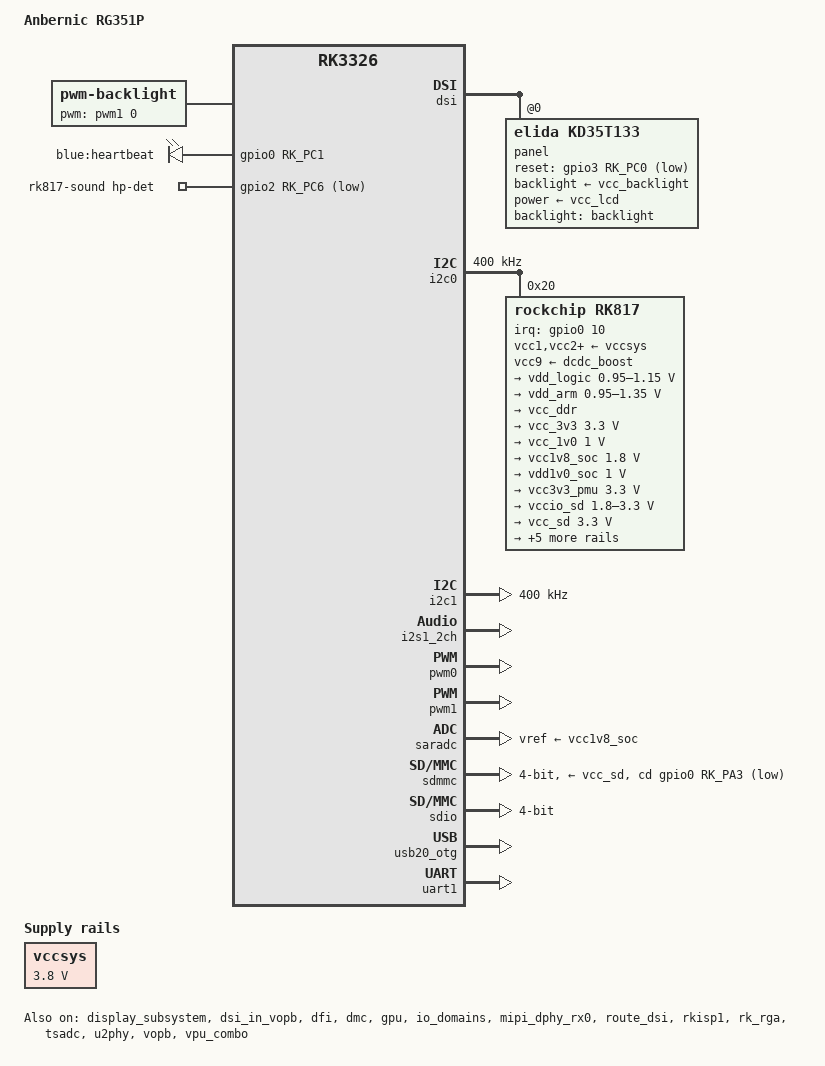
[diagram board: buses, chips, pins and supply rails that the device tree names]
// SPDX-License-Identifier: (GPL-2.0+ OR MIT)
/*
 * Copyright (c) 2020 Anbernic
 *
 * Anbernic RG351P isn't ODROID-GO2 CLONE:)
 *
 */

/dts-v1/;
#include <dt-bindings/display/drm_mipi_dsi.h>
#include <dt-bindings/gpio/gpio.h>
#include <dt-bindings/input/input.h>
#include <dt-bindings/pinctrl/rockchip.h>
#include <dt-bindings/sensor-dev.h>
#include "rockchip/rk3326.dtsi"
#include "rockchip/rk3326-linux.dtsi"

/ {
	model = "Anbernic RG351P";
	compatible = "rockchip,rk3326-rg351p-linux", "rockchip,rk3326";

	chosen {
                bootargs = "";
	};

	fiq-debugger {
		compatible = "rockchip,fiq-debugger";
		rockchip,serial-id = <2>;
		rockchip,wake-irq = <0>;
		/* If enable uart uses irq instead of fiq */
		rockchip,irq-mode-enable = <0>;
		rockchip,baudrate = <115200>;  /* Only 115200 and 1500000 */
		interrupts = <GIC_SPI 127 IRQ_TYPE_LEVEL_LOW>;
		pinctrl-names = "default";
		pinctrl-0 = <&uart2m1_xfer>;
		status = "okay";
	};

	backlight: backlight {
		compatible = "pwm-backlight";
		pwms = <&pwm1 0 25000 0>;
		brightness-levels = <
			  0   1   2   3   4   5   6   7
			  8   9  10  11  12  13  14  15
			 16  17  18  19  20  21  22  23
			 24  25  26  27  28  29  30  31
			 32  33  34  35  36  37  38  39
			 40  41  42  43  44  45  46  47
			 48  49  50  51  52  53  54  55
			 56  57  58  59  60  61  62  63
			 64  65  66  67  68  69  70  71
			 72  73  74  75  76  77  78  79
			 80  81  82  83  84  85  86  87
			 88  89  90  91  92  93  94  95
			 96  97  98  99 100 101 102 103
			104 105 106 107 108 109 110 111
			112 113 114 115 116 117 118 119
			120 121 122 123 124 125 126 127
			128 129 130 131 132 133 134 135
			136 137 138 139 140 141 142 143
			144 145 146 147 148 149 150 151
			152 153 154 155 156 157 158 159
			160 161 162 163 164 165 166 167
			168 169 170 171 172 173 174 175
			176 177 178 179 180 181 182 183
			184 185 186 187 188 189 190 191
			192 193 194 195 196 197 198 199
			200 201 202 203 204 205 206 207
			208 209 210 211 212 213 214 215
			216 217 218 219 220 221 222 223
			224 225 226 227 228 229 230 231
			232 233 234 235 236 237 238 239
			240 241 242 243 244 245 246 247
			248 249 250 251 252 253 254 255>;
		default-brightness-level = <255>;
	};
	
	leds: gpio_leds {
		compatible = "gpio-leds";

		pinctrl-names = "led_pins";
		pinctrl-0 = <&led_pins>;

		heartbeat {
			label = "blue:heartbeat";
			gpios = <&gpio0 RK_PC1 GPIO_ACTIVE_HIGH>;
			linux,default-trigger = "heartbeat";
		};
	};

	rk817-sound {
		compatible = "simple-audio-card";
		simple-audio-card,format = "i2s";
		simple-audio-card,name = "rockchip,rk817-codec";
		simple-audio-card,mclk-fs = <256>;
		simple-audio-card,widgets =
			"Microphone", "Mic Jack",
			"Headphone", "Headphone Jack";
		simple-audio-card,routing =
			"MIC_IN", "Mic Jack",
			/*"IN1P", "Mic Jack",*/
			"Headphone Jack", "HPOL",
			"Headphone Jack", "HPOR";
		simple-audio-card,hp-det-gpio = <&gpio2 RK_PC6 GPIO_ACTIVE_LOW>;
		simple-audio-card,codec-hp-det = <1>;
		simple-audio-card,cpu {
			sound-dai = <&i2s1_2ch>;
		};
		simple-audio-card,codec {
			sound-dai = <&rk817_codec>;
		};
	};

	vccsys: vccsys {
		compatible = "regulator-fixed";
		regulator-name = "vcc3v8_sys";
		regulator-always-on;
		regulator-min-microvolt = <3800000>;
		regulator-max-microvolt = <3800000>;
	};
/*
	vcc_host: vcc_host {
		compatible = "regulator-fixed";
		regulator-name = "vcc_host";
		regulator-min-microvolt = <5000000>;
		regulator-max-microvolt = <5000000>;

		gpio = <&gpio0 RK_PB7 GPIO_ACTIVE_LOW>;
		enable-active-high;
		regulator-always-on;
		vin-supply = <&vccsys>;
	};
*/
};


&bus_apll {
	bus-supply = <&vdd_logic>;
	status = "okay";
};

&cpu0 {
	cpu-supply = <&vdd_arm>;
};

&cpu0_opp_table {
	rockchip,avs = <1>;

	/* default 1.296GHz */
	rockchip,bin-scaling-sel = <
		0	13
		1	13
	>;

	/delete-node/ opp-816000000;
	/delete-node/ opp-1248000000;
};

&display_subsystem {
	status = "okay";
};

&dsi {
	status = "okay";

	panel@0 {
		compatible = "elida,kd35t133", "simple-panel-dsi";
		reg = <0>;

		/* pwm1 backlight */
		backlight = <&backlight>;
		/* RK817 LDO7 */
		backlight-supply = <&vcc_backlight>;
		/* RK817 LDO8 */
		power-supply = <&vcc_lcd>;

		/* Rev 0.2 LCD reset gpio GPIO3.C0 */
		reset-gpios = <&gpio3 RK_PC0 GPIO_ACTIVE_LOW>;

		prepare-delay-ms = <2>;
		reset-delay-ms = <1>;
		init-delay-ms = <20>;
		enable-delay-ms = <120>;
		disable-delay-ms = <50>;
		unprepare-delay-ms = <20>;

		/* LCD size */
		width-mm = <42>;
		height-mm = <82>;

		dsi,flags = <(MIPI_DSI_MODE_VIDEO           |
			      MIPI_DSI_MODE_VIDEO_BURST     |
			      MIPI_DSI_MODE_LPM             |
			      MIPI_DSI_MODE_EOT_PACKET)>;

		dsi,format = <MIPI_DSI_FMT_RGB888>;
		dsi,lanes = <1>;

		/*
			- panel-init-sequence data description -
			  mipi_cmd, delay(ms), len, lcd_cmd, lcd_data...

			- mipi_cmd description -
			  05 : MIPI_DSI_SHORT_WRITE
			  15 : MIPI_DSI_SHORT_WRITE_PARAM
			  39 : MIPI_DSI_LONG_WRITE

			- ILI9486 (Initialize sequence) -
			  11: Sleep out & 250ms wait
			  E0: PositiveGamma
			  E1: NegativeGamma
			  C0: PowerControl_1
			  C1: PowerControl_2
			  C5: VcomControl
			  36: MemoryAccess
			  3A: InterfacePixelFormat
			  B0: InterfaceModeControl
			  B1: FrameRateControl
			  B4: DisplayInversionControl
			  B6: DisplayFunctionControl
			  E9: SetImageFunction
			  F7: AdjustControl_3
			  21: DisplayInversionOn
			  29: DisplayOn & 50ms wait
		*/

		panel-init-sequence = [
			05 fa 01 11
			39 00 10 E0 00 13 18 04 0F 06 3A 56
			4D 03 0A 06 30 3E 0F
			39 00 10 E1 00 13 18 01 11 06 38 34
			4D 06 0D 0B 31 37 0F
			15 00 03 C0 18 17
			15 00 02 C1 41
			39 00 04 C5 00 1A 80
			15 00 02 36 48
			15 00 02 3A 55
			15 00 02 B0 00
			15 00 02 B1 A0
			15 00 02 B4 02
			15 00 03 B6 20 02
			15 00 02 E9 00
			39 00 05 F7 A9 51 2C 82
			05 00 01 21
			05 32 01 29
		];

		/* 28: DisplayOff */
		/* 10: SleepIn */
		panel-exit-sequence = [
			05 00 01 28
			05 00 01 10
		];

		display-timings {
			native-mode = <&timing0>;

			timing0: timing0 {
				clock-frequency = <17000000>;
				hactive = <320>;
				vactive = <480>;
				hfront-porch = <130>;
				hsync-len = <4>;
				hback-porch = <130>;
				vfront-porch = <2>;
				vsync-len = <1>;
				vback-porch = <2>;
				hsync-active = <0>;
				vsync-active = <0>;
				de-active = <0>;
				pixelclk-active = <0>;
			};
		};
	};
};

&dsi_in_vopb {
	status = "okay";
};



&dfi {
	status = "okay";
};

&dmc {
	center-supply = <&vdd_logic>;
	status = "okay";
};

&dmc_opp_table {
	/delete-node/ opp-194000000;
	/delete-node/ opp-328000000;
	/delete-node/ opp-450000000;

	opp-786000000 {
		status = "okay";
	};
};

&emmc {
	status = "disabled";
};

&gpu {
	mali-supply = <&vdd_logic>;
	status = "okay";
};

&gpu_opp_table {
	/delete-node/ opp-200000000;
	/delete-node/ opp-300000000;
};


&i2c0 {
	status = "okay";
	clock-frequency = <400000>;
	i2c-scl-rising-time-ns = <280>;
	i2c-scl-falling-time-ns = <16>;

	rk817: pmic@20 {
		compatible = "rockchip,rk817";
		reg = <0x20>;
		interrupt-parent = <&gpio0>;
		interrupts = <10 IRQ_TYPE_LEVEL_LOW>;
		pinctrl-names = "default", "pmic-sleep",
				"pmic-power-off", "pmic-reset";
		pinctrl-0 = <&pmic_int>;
		pinctrl-1 = <&soc_slppin_slp>, <&rk817_slppin_slp>;
		pinctrl-2 = <&soc_slppin_gpio>, <&rk817_slppin_pwrdn>;
		pinctrl-3 = <&soc_slppin_rst>, <&rk817_slppin_rst>;
		rockchip,system-power-controller;
		wakeup-source;
		#clock-cells = <1>;
		clock-output-names = "rk808-clkout1", "rk808-clkout2";
		//fb-inner-reg-idxs = <2>;

		/* 1: rst regs (default in codes), 0: rst the pmic */
		pmic-reset-func = <1>;

		vcc1-supply = <&vccsys>;
		vcc2-supply = <&vccsys>;
		vcc3-supply = <&vccsys>;
		vcc4-supply = <&vccsys>;
		vcc5-supply = <&vccsys>;
		vcc6-supply = <&vccsys>;
		vcc7-supply = <&vccsys>;
		vcc8-supply = <&vccsys>;
		vcc9-supply = <&dcdc_boost>;

		pwrkey {
			status = "okay";
		};

		pinctrl_rk8xx: pinctrl_rk8xx {
			gpio-controller;
			#gpio-cells = <2>;

			rk817_ts_gpio1: rk817_ts_gpio1 {
				pins = "gpio_ts";
				function = "pin_fun1";
				/* output-low; */
				/* input-enable; */
			};

			rk817_gt_gpio2: rk817_gt_gpio2 {
				pins = "gpio_gt";
				function = "pin_fun1";
			};

			rk817_pin_ts: rk817_pin_ts {
				pins = "gpio_ts";
				function = "pin_fun0";
			};

			rk817_pin_gt: rk817_pin_gt {
				pins = "gpio_gt";
				function = "pin_fun0";
			};

			rk817_slppin_null: rk817_slppin_null {
				pins = "gpio_slp";
				function = "pin_fun0";
			};

			rk817_slppin_slp: rk817_slppin_slp {
				pins = "gpio_slp";
				function = "pin_fun1";
			};

			rk817_slppin_pwrdn: rk817_slppin_pwrdn {
				pins = "gpio_slp";
				function = "pin_fun2";
			};

			rk817_slppin_rst: rk817_slppin_rst {
				pins = "gpio_slp";
				function = "pin_fun3";
			};
		};

		regulators {
			vdd_logic: DCDC_REG1 {
				regulator-always-on;
				regulator-boot-on;
				regulator-min-microvolt = <950000>;
				regulator-max-microvolt = <1150000>;
				regulator-ramp-delay = <6001>;
				regulator-initial-mode = <0x2>;
				regulator-name = "vdd_logic";
				regulator-state-mem {
					regulator-on-in-suspend;
					regulator-suspend-microvolt = <950000>;
				};
			};

			vdd_arm: DCDC_REG2 {
				regulator-always-on;
				regulator-boot-on;
				regulator-min-microvolt = <950000>;
				regulator-max-microvolt = <1350000>;
				regulator-ramp-delay = <6001>;
				regulator-initial-mode = <0x2>;
				regulator-name = "vdd_arm";
				regulator-state-mem {
					regulator-off-in-suspend;
					regulator-suspend-microvolt = <950000>;
				};
			};

			vcc_ddr: DCDC_REG3 {
				regulator-always-on;
				regulator-boot-on;
				regulator-initial-mode = <0x2>;
				regulator-name = "vcc_ddr";
				regulator-state-mem {
					regulator-on-in-suspend;
				};
			};

			vcc_3v3: DCDC_REG4 {
				regulator-always-on;
				regulator-boot-on;
				regulator-min-microvolt = <3300000>;
				regulator-max-microvolt = <3300000>;
				regulator-initial-mode = <0x2>;
				regulator-name = "vcc_3v3";
				regulator-state-mem {
					regulator-off-in-suspend;
					regulator-suspend-microvolt = <3300000>;
				};
			};

			/* Not Used */
			vcc_1v0: LDO_REG1 {
				regulator-min-microvolt = <1000000>;
				regulator-max-microvolt = <1000000>;
				regulator-name = "vcc_1v0";
				regulator-state-mem {
					regulator-off-in-suspend;
					regulator-suspend-microvolt = <1000000>;
				};
			};

			vcc1v8_soc: LDO_REG2 {
				regulator-always-on;
				regulator-boot-on;
				regulator-min-microvolt = <1800000>;
				regulator-max-microvolt = <1800000>;

				regulator-name = "vcc1v8_soc";
				regulator-state-mem {
					regulator-on-in-suspend;
					regulator-suspend-microvolt = <1800000>;
				};
			};

			vdd1v0_soc: LDO_REG3 {
				regulator-always-on;
				regulator-boot-on;
				regulator-min-microvolt = <1000000>;
				regulator-max-microvolt = <1000000>;

				regulator-name = "vcc1v0_soc";
				regulator-state-mem {
					regulator-on-in-suspend;
					regulator-suspend-microvolt = <1000000>;
				};
			};

			vcc3v3_pmu: LDO_REG4 {
				regulator-always-on;
				regulator-boot-on;
				regulator-min-microvolt = <3300000>;
				regulator-max-microvolt = <3300000>;

				regulator-name = "vcc3v3_pmu";
				regulator-state-mem {
					regulator-on-in-suspend;
					regulator-suspend-microvolt = <3300000>;

				};
			};

			vccio_sd: LDO_REG5 {
				regulator-always-on;
				regulator-boot-on;
				regulator-min-microvolt = <1800000>;
				regulator-max-microvolt = <3300000>;

				regulator-name = "vccio_sd";
				regulator-state-mem {
					regulator-on-in-suspend;
					regulator-suspend-microvolt = <3300000>;
				};
			};

			vcc_sd: LDO_REG6 {
				regulator-min-microvolt = <3300000>;
				regulator-max-microvolt = <3300000>;
				regulator-boot-on;

				regulator-name = "vcc_sd";
				regulator-state-mem {
					regulator-on-in-suspend;
					regulator-suspend-microvolt = <3300000>;

				};
			};

			/* Rev 0.2 LCD Backlight Power */
			vcc_backlight: LDO_REG7 {
				regulator-min-microvolt = <3300000>;
				regulator-max-microvolt = <3300000>;
				regulator-name = "vcc_backlight";
				regulator-state-mem {
					regulator-off-in-suspend;
					regulator-suspend-microvolt = <3300000>;
				};
			};

			/* Rev 0.2 LCD IO Power */
			vcc_lcd: LDO_REG8 {
				regulator-min-microvolt = <2800000>;
				regulator-max-microvolt = <2800000>;
				regulator-name = "vcc_lcd";
				regulator-state-mem {
					regulator-off-in-suspend;
					regulator-suspend-microvolt = <2800000>;
				};
			};

			/* Rev 1.1 WIFI Power */
			vcc_wifi: LDO_REG9 {
				regulator-always-on;
				regulator-boot-on;
				regulator-min-microvolt = <3300000>;
				regulator-max-microvolt = <3300000>;

				regulator-name = "vcc_wifi";
				regulator-state-mem {
					regulator-off-in-suspend;
					regulator-suspend-microvolt = <3300000>;
				};
			};

			dcdc_boost: BOOST {
				regulator-always-on;
				regulator-boot-on;
				regulator-min-microvolt = <5000000>;
				regulator-max-microvolt = <5400000>;
				regulator-name = "boost";
			};

			otg_switch: OTG_SWITCH {
				regulator-boot-on;
				regulator-name = "otg_switch";
			};
		};

		battery {
			compatible = "rk817,battery";
			ocv_table = <3300 3342 3384 3426 3468 3511 3554
			3597 3640 3683 3726 3769 3812 3855
			3898 3941 3984 4027 4070 4113 4158>;

			design_capacity = <3450>;
			design_qmax = <3795>;
			bat_res = <100>;
			sleep_enter_current = <300>;
			sleep_exit_current = <300>;
			sleep_filter_current = <100>;
			power_off_thresd = <3400>;
			zero_algorithm_vol = <3850>;
			max_soc_offset = <60>;
			monitor_sec = <5>;
			virtual_power = <0>;
			sample_res = <10>;
			power_dc2otg = <0>;
		};

		charger {
			compatible = "rk817,charger";
			min_input_voltage = <4500>;
			max_input_current = <1500>;
			max_chrg_current = <2000>;
			max_chrg_voltage = <4200>;
			chrg_term_mode = <0>;
			chrg_finish_cur = <66>;
			virtual_power = <0>;
			sample_res = <10>;

			dc_det_gpio  = <&gpio0 RK_PB3 GPIO_ACTIVE_HIGH>;
			bat_low_gpio = <&gpio2 RK_PB5 GPIO_ACTIVE_HIGH>;

			extcon = <&u2phy>;
		};

		rk817_codec: codec {
			#sound-dai-cells = <0>;
			compatible = "rockchip,rk817-codec";
			clocks = <&cru SCLK_I2S1_OUT>;
			clock-names = "mclk";
			pinctrl-names = "default";
			pinctrl-0 = <&i2s1_2ch_mclk>;
			hp-volume = <0>;
			spk-volume = <3>;
			status = "okay";
		};
	};
};

&i2c1 {
	status = "okay";
	clock-frequency = <400000>;
};

/* MIPI CSI I2C */
&i2c2 {
	status = "disabled";
};

/* I2S 1 Channel Used */
&i2s1_2ch {
	status = "okay";
	#sound-dai-cells = <0>;
};

&io_domains {
	/* GRF Register Voltage select control */
	status = "okay";

	/* SDIO I/O Voltage */
	vccio1-supply = <&vcc_3v3>;
	/* SDMMC I/O Voltage */
	vccio2-supply = <&vccio_sd>;
	/* CAM I/O Voltage */
	vccio3-supply = <&vcc_3v3>;
	/* LVDS/LCDC I/O Voltage */
	vccio4-supply = <&vcc_3v3>;
	/* I2S I/O Voltage */
	vccio5-supply = <&vcc_3v3>;
	/* eMMC I/O Voltage */
	vccio6-supply = <&vcc_3v3>;
};

&isp_mmu {
	status = "okay";
};

&mipi_dphy_rx0 {
	status = "okay";
};

&pmu_io_domains {
	/* PMU GRF Register Voltage select control */
	status = "okay";

	/* PMU I/O Voltage */
	pmuio1-supply = <&vcc3v3_pmu>;
	/* GPIO0_B/GPIO0_C, Flash */
	pmuio2-supply = <&vcc3v3_pmu>;
};

/* RG351P Motor PWM */
&pwm0 {
	status = "okay";
};

/* LCD Backlight PWM */
&pwm1 {
	status = "okay";
};

&route_dsi {
	connect = <&vopb_out_dsi>;
	status = "okay";
};

&rkisp1 {
	status = "okay";
};

&rk_rga {
	status = "okay";
};

&rockchip_suspend {
	status = "okay";
	rockchip,sleep-debug-en = <1>;
};


&sfc {
	status = "disabled";
};


&spi0 {
	status = "disabled";
};

&saradc {
	status = "okay";
	vref-supply = <&vcc1v8_soc>;
};

&sdmmc {
	bus-width = <4>;
	cap-mmc-highspeed;
	cap-sd-highspeed;
	supports-sd;
	card-detect-delay = <800>;
	ignore-pm-notify;
	cd-gpios = <&gpio0 RK_PA3 GPIO_ACTIVE_LOW>; /*[> CD GPIO <]*/
	sd-uhs-sdr12;
	sd-uhs-sdr25;
	sd-uhs-sdr50;
	sd-uhs-sdr104;
	vqmmc-supply = <&vccio_sd>;
	vmmc-supply = <&vcc_sd>;
	status = "okay";
};

&sdio {
	bus-width = <4>;
	cap-sd-highspeed;
	cap-sdio-irq;
	disable-wp;
	supports-sdio;
	ignore-pm-notify;
	keep-power-in-suspend;
	/* non-removable; */
	status = "okay";
};

&tsadc {
	pinctrl-names = "gpio", "otpout";
	pinctrl-0 = <&tsadc_otp_gpio>;
	pinctrl-1 = <&tsadc_otp_out>;
	status = "okay";
};

&u2phy {
	status = "okay";

	u2phy_host: host-port {
		status = "okay";
	};

	u2phy_otg: otg-port {
		status = "disabled";
	};
};

&usb20_otg {
	status = "okay";
};

&uart1 {
	pinctrl-names = "default";
	pinctrl-0 = <&uart1_xfer &uart1_cts>;
	status = "okay";
};

&vip_mmu {
	status = "okay";
};

&vopb {
	status = "okay";
};

&vopb_mmu {
	status = "okay";
};

&vpu_combo {
	status = "okay";
};

&pinctrl {

	pmic {
		pmic_int: pmic_int {
			rockchip,pins =
				<0 RK_PB2 RK_FUNC_GPIO &pcfg_pull_up>,
				<0 RK_PB3 RK_FUNC_GPIO &pcfg_pull_none>;
		};

		soc_slppin_gpio: soc_slppin_gpio {
			rockchip,pins =
				<0 RK_PA4 RK_FUNC_GPIO &pcfg_output_low>;
		};

		soc_slppin_slp: soc_slppin_slp {
			rockchip,pins =
				<0 RK_PA4 RK_FUNC_1 &pcfg_pull_none>;
		};

		soc_slppin_rst: soc_slppin_rst {
			rockchip,pins =
				<0 RK_PA4 RK_FUNC_2 &pcfg_pull_none>;
		};
	};

	leds {
		led_pins: led-pins {
			rockchip,pins = <0 RK_PC1 RK_FUNC_GPIO &pcfg_pull_none>;
		};
	};
	btns {
		btn_pins: btn-pins {
			rockchip,pins = <1 RK_PB4 RK_FUNC_GPIO &pcfg_pull_up>,
					<1 RK_PB5 RK_FUNC_GPIO &pcfg_pull_up>,
					<1 RK_PB6 RK_FUNC_GPIO &pcfg_pull_up>,
					<1 RK_PB7 RK_FUNC_GPIO &pcfg_pull_up>,
					<1 RK_PA2 RK_FUNC_GPIO &pcfg_pull_up>,
					<1 RK_PA5 RK_FUNC_GPIO &pcfg_pull_up>,
					<1 RK_PA6 RK_FUNC_GPIO &pcfg_pull_up>,
					<1 RK_PA7 RK_FUNC_GPIO &pcfg_pull_up>,

					<2 RK_PA0 RK_FUNC_GPIO &pcfg_pull_up>,
					<2 RK_PA1 RK_FUNC_GPIO &pcfg_pull_up>,
					<2 RK_PA2 RK_FUNC_GPIO &pcfg_pull_up>,
					<2 RK_PA3 RK_FUNC_GPIO &pcfg_pull_up>,
					<2 RK_PA4 RK_FUNC_GPIO &pcfg_pull_up>,
					<2 RK_PA5 RK_FUNC_GPIO &pcfg_pull_up>,
					<2 RK_PA6 RK_FUNC_GPIO &pcfg_pull_up>,
					<2 RK_PA7 RK_FUNC_GPIO &pcfg_pull_up>,
					<3 RK_PB2 RK_FUNC_GPIO &pcfg_pull_up>,
					<3 RK_PB7 RK_FUNC_GPIO &pcfg_pull_up>;
		};
	};
};

/* DON'T PUT ANYTHING BELOW HERE.  PUT IT ABOVE PINCTRL */
